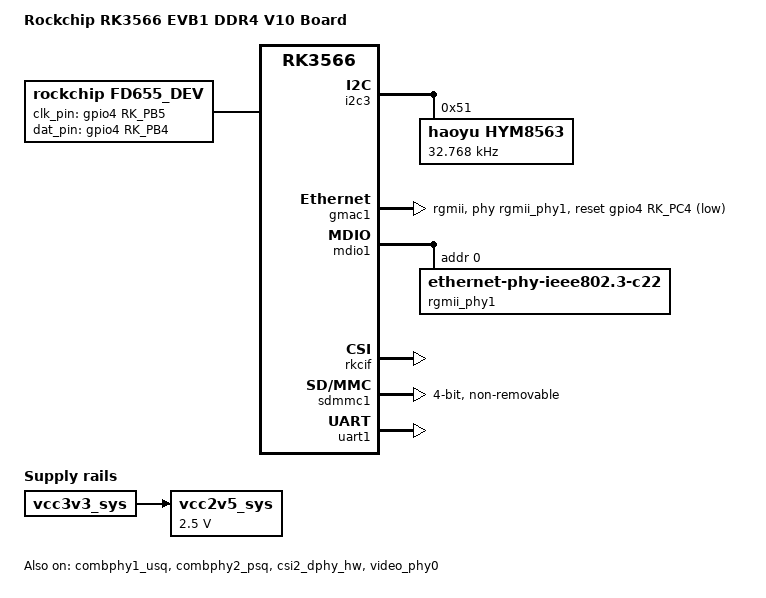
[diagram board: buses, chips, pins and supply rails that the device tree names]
// SPDX-License-Identifier: (GPL-2.0+ OR MIT)
/*
 * Copyright (c) 2020 Rockchip Electronics Co., Ltd.
 */

/dts-v1/;

#include <dt-bindings/gpio/gpio.h>
#include <dt-bindings/pinctrl/rockchip.h>
#include "rk3566.dtsi"
#include "rk3566-evb.dtsi"

/ {
	model = "Rockchip RK3566 EVB1 DDR4 V10 Board";
	compatible = "rockchip,rk3566-evb1-ddr4-v10", "rockchip,rk3566";
/*
	vcc3v3_pcie: gpio-regulator {
		compatible = "regulator-fixed";
		regulator-name = "vcc3v3_pcie";
		regulator-min-microvolt = <3300000>;
		regulator-max-microvolt = <3300000>;
		enable-active-high;
		gpio = <&gpio0 RK_PB7 GPIO_ACTIVE_HIGH>;
		startup-delay-us = <5000>;
		vin-supply = <&dc_12v>;
	};

	vcc3v3_vga: vcc3v3-vga {
		compatible = "regulator-fixed";
		regulator-name = "vcc3v3_vga";
		regulator-always-on;
		regulator-boot-on;
		gpio = <&gpio2 RK_PB1 GPIO_ACTIVE_HIGH>;
		enable-active-high;
		vin-supply = <&vcc3v3_sys>;
	};

	vcc_camera: vcc-camera-regulator {
		compatible = "regulator-fixed";
		gpio = <&gpio0 RK_PC1 GPIO_ACTIVE_HIGH>;
		pinctrl-names = "default";
		pinctrl-0 = <&camera_pwr>;
		regulator-name = "vcc_camera";
		enable-active-high;
		regulator-always-on;
		regulator-boot-on;
	};
};*/
vcc2v5_sys: vcc2v5-ddr {
         compatible = "regulator-fixed";
         regulator-name = "vcc2v5-sys";
         regulator-always-on;
         regulator-boot-on;
         regulator-min-microvolt = <2500000>;
         regulator-max-microvolt = <2500000>;
         vin-supply = <&vcc3v3_sys>;
    };

   fd655_dev{
        compatible = "rockchip,fd655_dev";
 //       clk_pin = <&gpio1 RK_PA1 GPIO_ACTIVE_HIGH>;
   //     dat_pin = <&gpio1 RK_PA0 GPIO_ACTIVE_HIGH>;
	 clk_pin = <&gpio4 RK_PB5 GPIO_ACTIVE_HIGH>;
        dat_pin = <&gpio4 RK_PB4 GPIO_ACTIVE_HIGH>;
        //usb4g_power_pin = <&gpio0 RK_PA2 GPIO_ACTIVE_HIGH>;
        //usb4g_pwrkey_pin= <&gpio0 RK_PD5 GPIO_ACTIVE_HIGH>;
        //sata_pwr_en = <&gpio4 RK_PC3 GPIO_ACTIVE_HIGH>;
        pinctrl-names = "default";
        pinctrl-0 = <&fd655_clk_pin &fd655_dat_pin>;

        status = "okay";
    };

  cs4344_sound: cs4344-sound {
        compatible = "simple-audio-card";
        simple-audio-card,format = "i2s";
        simple-audio-card,name = "rockchip,audiopwmout-diff";
        simple-audio-card,mclk-fs = <256>;
        status = "okay";
        simple-audio-card,cpu {
            sound-dai = <&i2s1_8ch>;
        };
        simple-audio-card,codec {
            sound-dai = <&dummy_codec>;
        };

    };


 dummy_codec: dummy-codec {
          compatible = "rockchip,dummy-codec";
          #sound-dai-cells = <0>;
/*        clocks = <&cru I2S1_MCLKOUT>;
          clock-names = "mclk";*/
          assigned-clocks = <&cru I2S1_MCLKOUT>,<&cru I2S1_MCLK_TX_IOE>;
          assigned-clock-rates = <12288000>;
          assigned-clock-parents = <&cru I2S1_MCLKOUT_TX>, <&cru I2S1_MCLKOUT_TX>;
          clocks = <&cru I2S1_MCLKOUT>;
          clock-names = "mclk";
          pinctrl-names = "default";
          pinctrl-0 = <&i2s1m0_mclk>;
          status = "okay";
    };

 };

&bt_sound {
	status = "disabled";
	simple-audio-card,cpu {
		sound-dai = <&i2s2_2ch>;
	};
};
/*
&audiopwmout_diff {
	status = "disabled";
};
*/
&combphy1_usq {
	status = "okay";
};

&combphy2_psq {
	status = "okay";
};


&csi2_dphy_hw {
	status = "okay";
};

&i2c3 {

     status = "okay";
     pinctrl-names = "default";
      pinctrl-0 = <&i2c3m1_xfer>;
       hym8563: hym8563@51 {
         compatible = "haoyu,hym8563";
          reg = <0x51>;
          #clock-cells = <0>;
         clock-frequency = <32768>;
          clock-output-names = "hym8563";
         /* rtc_int is not connected */
         status = "okay";
     };

};

/*jack
&gmac1 {
    phy-mode = "rgmii";
    clock_in_out = "output";
    snps,reset-gpio = <&gpio4 RK_PC4 GPIO_ACTIVE_LOW>;
    snps,reset-active-low;
    snps,reset-delays-us = <0 20000 100000>;
    assigned-clocks = <&cru SCLK_GMAC1_RX_TX>, <&cru SCLK_GMAC1>, <&cru CLK_MAC1_OUT>;
    assigned-clock-parents = <&cru SCLK_GMAC1_RGMII_SPEED>;
    assigned-clock-rates = <0>, <125000000>, <25000000>;
    pinctrl-names = "default";
    pinctrl-0 = <&gmac1m1_miim
        &gmac1m1_tx_bus2
        &gmac1m1_rx_bus2
        &gmac1m1_rgmii_clk
        &gmac1m1_rgmii_bus
        &eth1m1_pins
        &gmac1m1_clkinout>;jack*/

/*  tx_delay = <0x4b>;
    rx_delay = <0x2b>;*/
/*  tx_delay = <0x41>;
    rx_delay = <0x2d>;*/

/*jack    tx_delay = <0x4b>;
    rx_delay = <0x2b>;
    phy-handle = <&rgmii_phy1>;
    status = "okay";
};jack */

/*
&mdio1 {
    rgmii_phy1: phy@0 {
        compatible = "ethernet-phy-ieee802.3-c22";
        reg = <0x0>;
        clocks = <&cru CLK_MAC1_OUT>;
    };
};*/

/*zag
&gmac1 {
  phy-mode = "rmii";
  clock_in_out = "output";
  snps,reset-gpio = <&gpio4 RK_PC2 GPIO_ACTIVE_LOW>;
  snps,reset-active-low;*/
  /* Reset time is 20ms, 100ms for rtl8211f */
//  snps,reset-delays-us = <0 20000 100000>;
/*  assigned-clocks = <&cru SCLK_GMAC1_RX_TX>, <&cru SCLK_GMAC1>;
  assigned-clock-parents = <&cru SCLK_GMAC1_RMII_SPEED>;*/
/*  assigned-clocks = <&cru SCLK_GMAC1_RX_TX>,<&cru SCLK_GMAC1>,<&cru CLK_MAC1_OUT>;
  assigned-clock-parents = <&cru SCLK_GMAC1_RMII_SPEED>;
  assigned-clock-rates = <0>, <50000000>,<25000000>;*/
/*  assigned-clock-rates = <0>,<50000000>, <50000000>;*/
/*  clocks = <&cru CLK_MAC1_OUT>;*/
//  pinctrl-names = "default";
//  pinctrl-0 = <&gmac1m1_miim
//       &gmac1m1_tx_bus2
//       &gmac1m1_rx_bus2
//       &eth1m1_pins
//       &gmac1m1_clkinout>;

/*  tx_delay = <0x41>;
  rx_delay = <0x2d>*/
//  phy-handle = <&rmii_phy1>;
//  status = "okay";
// };

/*
&mdio1 {
    rmii_phy1: phy@0 {
        compatible = "ethernet-phy-ieee802.3-c22";
        reg = <0x0>;
        clocks = <&cru CLK_MAC1_OUT>;
    };
};*/


&gmac1 {
    phy-mode = "rgmii";
    clock_in_out = "output";
    snps,reset-gpio = <&gpio4 RK_PC4 GPIO_ACTIVE_LOW>;
    snps,reset-active-low;
    snps,reset-delays-us = <0 20000 100000>;
    assigned-clocks = <&cru SCLK_GMAC1_RX_TX>, <&cru SCLK_GMAC1>, <&cru CLK_MAC1_OUT>;
    assigned-clock-parents = <&cru SCLK_GMAC1_RGMII_SPEED>;
    assigned-clock-rates = <0>, <125000000>, <25000000>;
    pinctrl-names = "default";
    pinctrl-0 = <&gmac1m1_miim
        &gmac1m1_tx_bus2
        &gmac1m1_rx_bus2
        &gmac1m1_rgmii_clk
        &gmac1m1_rgmii_bus
        &eth1m1_pins
        &gmac1m1_clkinout>;
/*  tx_delay = <0x4b>;
    rx_delay = <0x2b>;*/
/*  tx_delay = <0x41>;
    rx_delay = <0x2d>;*/
    tx_delay = <0x4b>;
    rx_delay = <0x2b>;
    phy-handle = <&rgmii_phy1>;
    status = "okay";
};

&mdio1 {
    rgmii_phy1: phy@0 {
        compatible = "ethernet-phy-ieee802.3-c22";
        reg = <0x0>;
        clocks = <&cru CLK_MAC1_OUT>;
    };
};



//&csi2_dphy1 {
//	status = "okay";

	/*
	 * dphy1 only used for split mode,
	 * can be used  concurrently  with dphy2
	 * full mode and split mode are mutually exclusive
	 */
//	ports {
//		#address-cells = <1>;
//		#size-cells = <0>;

//		port@0 {
//			reg = <0>;
//			#address-cells = <1>;
//			#size-cells = <0>;

//			dphy1_in: endpoint@1 {
//				reg = <1>;
//				remote-endpoint = <&ov5695_out>;
	//			data-lanes = <1 2>;
//			};
//		};

//		port@1 {
//			reg = <1>;
//			#address-cells = <1>;
//			#size-cells = <0>;

//			dphy1_out: endpoint@1 {
//				reg = <1>;
//				remote-endpoint = <&isp0_in>;
//			};
//		};
//	};
//};

//&csi2_dphy2 {
//	status = "okay";

	/*
	 * dphy2 only used for split mode,
	 * can be used  concurrently  with dphy1
	 * full mode and split mode are mutually exclusive
	 */
//	ports {
//		#address-cells = <1>;
//		#size-cells = <0>;

//		port@0 {
//			reg = <0>;
//			#address-cells = <1>;
//			#size-cells = <0>;

//			dphy2_in: endpoint@1 {
//				reg = <1>;
//				remote-endpoint = <&ov02k10_out>;
//				data-lanes = <1 2>;
//			};
//		};

//		port@1 {
//			reg = <1>;
//			#address-cells = <1>;
//			#size-cells = <0>;
//
//			dphy2_out: endpoint@1 {
//				reg = <1>;
//				remote-endpoint = <&mipi_csi2_input>;
//			};
//		};
//	};
//};

//&dig_acodec {
//	status = "disabled";
//	rockchip,pwm-output-mode;
//	pinctrl-names = "default";
//	pinctrl-0 = <&audiopwm_loutp
//		&audiopwm_loutn
//		&audiopwm_routp
//		&audiopwm_routn
//	>;
//};

/*
 * video_phy0 needs to be enabled
 * when dsi0 is enabled
 */
//&dsi0 {
//	status = "okay";
//};

&dsi0_in_vp0 {
	status = "disabled";
};

//&dsi0_in_vp1 {
//	status = "okay";
//};

//&dsi0_panel {
//	power-supply = <&vcc3v3_lcd0_n>;
//	reset-gpios = <&gpio4 RK_PC5 GPIO_ACTIVE_LOW>;
//	pinctrl-names = "default";
//	pinctrl-0 = <&lcd0_rst_gpio>;
//};

/*
 * video_phy1 needs to be enabled
 * when dsi1 is enabled
 */
//&dsi1 {
//	status = "disabled";
//};

//&dsi1_in_vp0 {
//	status = "disabled";
//};

//&dsi1_in_vp1 {
//	status = "disabled";
//};

//&dsi1_panel {
//	power-supply = <&vcc3v3_lcd1_n>;
//	reset-gpios = <&gpio4 RK_PC6 GPIO_ACTIVE_LOW>;
//	pinctrl-names = "default";
//	pinctrl-0 = <&lcd1_rst_gpio>;
//};

//&edp {
//	hpd-gpios = <&gpio4 RK_PC4 GPIO_ACTIVE_HIGH>;
//	status = "okay";
//};

//&edp_phy {
//	status = "okay";
//};

//&edp_in_vp0 {
///	status = "okay";
//};

//&edp_in_vp1 {
//	status = "disabled";
//};

/*
 * power-supply should switche to vcc3v3_lcd1_n
 * when mipi panel is connected to dsi1.
 */
//&gt1x {
//	power-supply = <&vcc3v3_lcd0_n>;
//};

&i2c2 {
	status = "disabled";
//	pinctrl-names = "default";
//	pinctrl-0 = <&i2c2m1_xfer>;

	/* split mode: lane0/1 */
/*	ov5695: ov5695@36 {
		status = "okay";
		compatible = "ovti,ov5695";
		reg = <0x36>;
		clocks = <&cru CLK_CAM0_OUT>;
		clock-names = "xvclk";
		power-domains = <&power RK3568_PD_VI>;
		pinctrl-names = "default";
		pinctrl-0 = <&cam_clkout0>;
		reset-gpios = <&gpio4 RK_PC0 GPIO_ACTIVE_HIGH>;
		pwdn-gpios = <&gpio2 RK_PC5 GPIO_ACTIVE_HIGH>;*/
		/*power-gpios = <&gpio0 RK_PC1 GPIO_ACTIVE_HIGH>;*/
/*		rockchip,camera-module-index = <0>;
		rockchip,camera-module-facing = "back";
		rockchip,camera-module-name = "TongJu";
		rockchip,camera-module-lens-name = "CHT842-MD";
		port {
			ov5695_out: endpoint {
				remote-endpoint = <&dphy1_in>;
				data-lanes = <1 2>;
			};
		};
	};*/
/*
	ov02k10: ov02k10@36 {
		status = "okay";
		compatible = "ovti,ov02k10";
		reg = <0x36>;
		clocks = <&cru CLK_CAM1_OUT>;
		clock-names = "xvclk";
		pinctrl-names = "default";
		pinctrl-0 = <&cam_clkout1>;
		reset-gpios = <&gpio3 RK_PB0 GPIO_ACTIVE_HIGH>;
		pwdn-gpios = <&gpio2 RK_PC6 GPIO_ACTIVE_HIGH>;
		power-gpios = <&gpio0 RK_PC1 GPIO_ACTIVE_HIGH>;
		rockchip,camera-module-index = <0>;
		rockchip,camera-module-facing = "back";
		rockchip,camera-module-name = "TongJu";
		rockchip,camera-module-lens-name = "CHT842-MD";
		port {
			ov02k10_out: endpoint {
				remote-endpoint = <&dphy2_in>;
				data-lanes = <1 2>;
			};
		};
	};*/
};

&i2s2_2ch {
	pinctrl-0 = <&i2s2m1_sclktx &i2s2m1_lrcktx &i2s2m1_sdi &i2s2m1_sdo>;
	rockchip,bclk-fs = <32>;
	status = "disabled";
};

&i2s3_2ch {
	status = "disabled";
};
/*
&mipi_csi2 {
	status = "okay";

	ports {
		#address-cells = <1>;
		#size-cells = <0>;

		port@0 {
			reg = <0>;
			#address-cells = <1>;
			#size-cells = <0>;

			mipi_csi2_input: endpoint@1 {
				reg = <1>;
				remote-endpoint = <&dphy2_out>;
				data-lanes = <1 2>;
			};
		};

		port@1 {
			reg = <1>;
			#address-cells = <1>;
			#size-cells = <0>;

			mipi_csi2_output: endpoint@0 {
				reg = <0>;
				remote-endpoint = <&cif_mipi_in>;
				data-lanes = <1 2>;
			};
		};
	};
};
*/
&video_phy0 {
	status = "okay";
};

&video_phy1 {
	status = "disabled";
};

//&pcie2x1 {
//	reset-gpios = <&gpio1 RK_PB2 GPIO_ACTIVE_HIGH>;
//	vpcie3v3-supply = <&vcc3v3_pcie>;
//	status = "okay";
//};

&pdm {
	status = "disabled";
/*	pinctrl-names = "default";
	pinctrl-0 = <&pdmm1_clk1
		     &pdmm1_sdi1
		     &pdmm1_sdi2
		     &pdmm1_sdi3>;*/
};

//&pdmics {
//	status = "disabled";
//};

&pdm_mic_array {
	status = "disabled";
};

&rkcif {
	status = "okay";
};
/*
&rkcif_mipi_lvds {
	status = "okay";

	port {
		cif_mipi_in: endpoint {
			remote-endpoint = <&mipi_csi2_output>;
			data-lanes = <1 2>;
		};
	};
};
*/
/*
&rkcif_mmu {
	status = "okay";
};

&rkisp {
	status = "okay";
};

&rkisp_mmu {
	status = "okay";
};

&rkisp_vir0 {
	status = "okay";

	port {
		#address-cells = <1>;
		#size-cells = <0>;

		isp0_in: endpoint@0 {
			reg = <0>;
			remote-endpoint = <&dphy1_out>;
		};
	};
};
*/
//&route_dsi0 {
//	status = "okay";
//	connect = <&vp1_out_dsi0>;
//};

&sdmmc1 {
    max-frequency = <50000000>;
    supports-sdio;
    bus-width = <4>;
    disable-wp;
    cap-sd-highspeed;
    cap-sdio-irq;
    keep-power-in-suspend;
    mmc-pwrseq = <&sdio_pwrseq>;
    non-removable;
    pinctrl-names = "default";
    pinctrl-0 = <&sdmmc1_bus4 &sdmmc1_cmd &sdmmc1_clk>;
    sd-uhs-sdr104;
    status = "okay";

};

&uart1 {
	status = "okay";
	pinctrl-names = "default";
         pinctrl-0 = <&uart1m0_xfer &uart1m0_ctsn>;
};

//&vcc3v3_lcd0_n {
//	gpio = <&gpio0 RK_PC0 GPIO_ACTIVE_HIGH>;
//	enable-active-high;
//};

//&vcc3v3_lcd1_n {
//	gpio = <&gpio0 RK_PC2 GPIO_ACTIVE_HIGH>;
//	enable-active-high;
//};

//&wireless_bluetooth {
//	uart_rts_gpios = <&gpio4 RK_PB6 GPIO_ACTIVE_LOW>;
//	pinctrl-names = "default", "rts_gpio";
//	pinctrl-0 = <&uart1m1_rtsn>;
//	pinctrl-1 = <&uart1_gpios>;
//	BT,reset_gpio    = <&gpio4 RK_PA5 GPIO_ACTIVE_HIGH>;
//	BT,wake_gpio     = <&gpio4 RK_PA6 GPIO_ACTIVE_HIGH>;
//	BT,wake_host_irq = <&gpio4 RK_PB1 GPIO_ACTIVE_HIGH>;
//	status = "okay";
//};

//&wireless_wlan {
//	pinctrl-names = "default";
//	pinctrl-0 = <&wifi_host_wake_irq>;
//	WIFI,host_wake_irq = <&gpio3 RK_PD4 GPIO_ACTIVE_HIGH>;
//};

//&work_led {
//	gpios = <&gpio2 RK_PB2 GPIO_ACTIVE_HIGH>;
//};

&pinctrl {
	cam {
		camera_pwr: camera-pwr {
			rockchip,pins =
				/* camera power en */
				<0 RK_PC1 RK_FUNC_GPIO &pcfg_pull_none>;
		};
	};
/*
	lcd0 {
		lcd0_rst_gpio: lcd0-rst-gpio {
			rockchip,pins = <4 RK_PC5 RK_FUNC_GPIO &pcfg_pull_none>;
		};
	};

	lcd1 {
		lcd1_rst_gpio: lcd1-rst-gpio {
			rockchip,pins = <4 RK_PC6 RK_FUNC_GPIO &pcfg_pull_none>;
		};
	};

	wireless-wlan {
		wifi_host_wake_irq: wifi-host-wake-irq {
			rockchip,pins = <3 RK_PD4 RK_FUNC_GPIO &pcfg_pull_down>;
		};
	};

	wireless-bluetooth {
		uart1_gpios: uart1-gpios {
			rockchip,pins = <4 RK_PB6 RK_FUNC_GPIO &pcfg_pull_none>;
		};
	};*/

     wireless-wlan {
        wifi_host_wake_irq: wifi-host-wake-irq {
            rockchip,pins = <2 RK_PB2 RK_FUNC_GPIO &pcfg_pull_down>;
        };
    };

   sd {
            sd_enable: sd-enable {
                        rockchip,pins = <0 RK_PA5 RK_FUNC_GPIO &pcfg_pull_none>;
            };
     };

    wireless-bluetooth {
        uart1_gpios: uart1-gpios {
            rockchip,pins = <2 RK_PB5 RK_FUNC_GPIO &pcfg_pull_none>;
        };
    };

    fd655_dev {
        fd655_clk_pin: fd655-clk_pin {
            rockchip,pins = <4 RK_PB5 RK_FUNC_GPIO &pcfg_pull_none>;
     };
        fd655_dat_pin: fd655-dat_pin {
            rockchip,pins = <4 RK_PB4 RK_FUNC_GPIO &pcfg_pull_none>;
       };
   };

};
